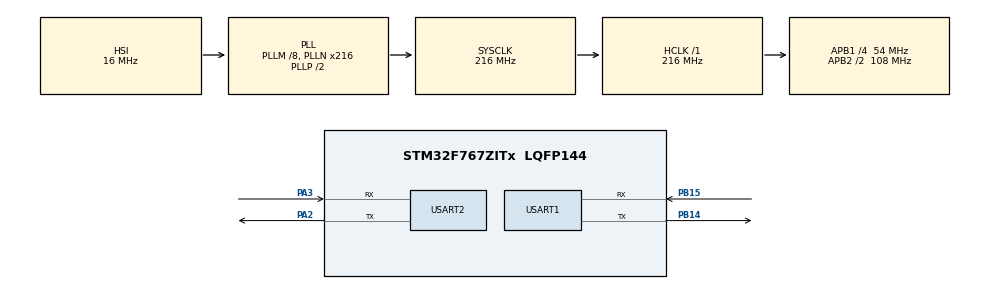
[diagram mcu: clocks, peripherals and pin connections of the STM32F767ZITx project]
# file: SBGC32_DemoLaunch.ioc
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Mcu.Family=STM32F7
Mcu.Name=STM32F767ZITx
Mcu.Package=LQFP144
NVIC.PriorityGroup=NVIC_PRIORITYGROUP_4
NVIC.TIM2_IRQn=true\:5\:0\:true\:false\:true\:true\:true\:true
NVIC.USART1_IRQn=true\:1\:0\:true\:false\:true\:true\:true\:true
PA2.Mode=Asynchronous
PA2.Signal=USART2_TX
PA3.Mode=Asynchronous
PA3.Signal=USART2_RX
PB14.Mode=Asynchronous
PB14.Signal=USART1_TX
PB15.GPIO_PuPd=GPIO_PULLUP
PB15.Mode=Asynchronous
PB15.Signal=USART1_RX
ProjectManager.HeapSize=0x200
ProjectManager.StackSize=0x400
ProjectManager.TargetToolchain=STM32CubeIDE
RCC.AHBFreq_Value=216000000
RCC.APB1CLKDivider=RCC_HCLK_DIV4
RCC.APB1Freq_Value=54000000
RCC.APB1TimFreq_Value=108000000
RCC.APB2CLKDivider=RCC_HCLK_DIV2
RCC.APB2Freq_Value=108000000
RCC.APB2TimFreq_Value=216000000
RCC.CortexFreq_Value=216000000
RCC.HCLKFreq_Value=216000000
RCC.HSE_VALUE=25000000
RCC.HSI_VALUE=16000000
RCC.LSE_VALUE=32768
RCC.PLLM=8
RCC.PLLN=216
RCC.SYSCLKFreq_VALUE=216000000
RCC.SYSCLKSource=RCC_SYSCLKSOURCE_PLLCLK
RCC.USBFreq_Value=216000000
RCC.VCOOutputFreq_Value=432000000
TIM2.Period=999
TIM2.Prescaler=107
TIM2.TIM_MasterOutputTrigger=TIM_TRGO_UPDATE
USART1.OverSampling=UART_OVERSAMPLING_16
USART1.VirtualMode-Asynchronous=VM_ASYNC
USART2.OverSampling=UART_OVERSAMPLING_16
USART2.VirtualMode-Asynchronous=VM_ASYNC
VP_TIM2_VS_ClockSourceINT.Mode=Internal
board=custom

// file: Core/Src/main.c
/* USER CODE BEGIN Header */
/**
  ******************************************************************************
  * @file           : main.c
  * @brief          : Main program body
  ******************************************************************************
  * @attention
  *
  * Copyright (c) 2022 STMicroelectronics.
  * All rights reserved.
  *
  * This software is licensed under terms that can be found in the LICENSE file
  * in the root directory of this software component.
  * If no LICENSE file comes with this software, it is provided AS-IS.
  *
  ******************************************************************************
  */
/*	____________________________________________________________________
 *
 *	This is an example sketch for STM32, that shows how to control
 *	SimpleBGC-driven gimbal via Serial API. API specs are available at
 *	http://www.basecamelectronics.com/serialapi/
 *	____________________________________________________________________
 */

/* USER CODE END Header */
#include "main.h"
#include "tim.h"
#include "usart.h"
#include "gpio.h"

/* USER CODE BEGIN Includes */

#include "sbgc32.h"

/* USER CODE END Includes */

/* USER CODE BEGIN PD */

#define		SBGC_CONTROL_AXES_LPF			2

#define		SBGC_ADJ_VAR_INCREASING_STEP	200

#define		SBGC_DATA_STREAM_BUFF_DEPTH		1
#define		SBGC_DEMO_CONTROL_ITERATIONS	4
#define		SBGC_DATA_STREAM_INTERVAL		1000

/* USER CODE END PD */

void SystemClock_Config(void);

/* USER CODE BEGIN 0 */

/* ‾‾‾‾‾‾‾‾‾‾‾‾‾‾‾‾‾‾‾‾‾‾‾‾‾‾‾‾‾‾‾‾‾‾‾‾‾‾‾‾‾‾‾‾‾‾‾‾‾‾‾‾‾‾‾‾‾‾‾‾‾‾‾‾‾‾ */
/*                       Global Software Objects                      */
/* __________________________________________________________________ */

			sbgcGeneral_t 			SBGC32_Device;

static		sbgcAdjVarGeneral_t		AdjVarGeneral [3];

static		sbgcControl_t			Control;
static		sbgcControlConfig_t		ControlConfig;

static		sbgcMainParams3_t		MainParams3;
static		sbgcMainParamsExt_t		MainParamsExt;
static		sbgcMainParamsExt2_t	MainParamsExt2;
static		sbgcMainParamsExt3_t	MainParamsExt3;

static		sbgcRealTimeData_t		RealTimeData;
static		sbgcDataStreamInterval_t
									DataStreamInterval;

static		sbgcBoardInfo_t			BoardInfo;
static		sbgcBoardInfo3_t		BoardInfo3;
static		sbgcBeeperSettings_t	BeeperSettings;

static		sbgcConfirm_t			Confirm;

struct PACKED__ RealTimeDataCustomStruct
{
	// Mandatory field, don't remove!
	ui16 timestampMs;

	// Additional fields, depended on 'flags'
	i16 frameCamAngle [3];
	i16 gyroData [3];
	i16 accData [3];

}	static RealTimeDataCustom;

/* Function prototypes */
sbgcCommandStatus_t PrintBoardParameters (sbgcProfile_t profileID);
sbgcCommandStatus_t DemoControl (void);
void PrintDataStream (void);

/* USER CODE END 0 */

int main(void)
{

  /* MCU Configuration--------------------------------------------------------*/

  /* Reset of all peripherals, Initializes the Flash interface and the Systick. */
  HAL_Init();

  /* Configure the system clock */
  SystemClock_Config();

  /* Initialize all configured peripherals */
  MX_GPIO_Init();
  MX_TIM2_Init();
  MX_USART1_UART_Init();
  MX_USART2_UART_Init();
  /* USER CODE BEGIN 2 */

	/* SimpleBGC32 Init */
	SBGC32_Init(&SBGC32_Device);

	/* Control Configurations */
	ControlConfig.AxisCCtrl[PITCH].angleLPF = SBGC_CONTROL_AXES_LPF;
	ControlConfig.AxisCCtrl[YAW].angleLPF = SBGC_CONTROL_AXES_LPF;

	ControlConfig.AxisCCtrl[PITCH].speedLPF = SBGC_CONTROL_AXES_LPF;
	ControlConfig.AxisCCtrl[YAW].speedLPF = SBGC_CONTROL_AXES_LPF;

	ControlConfig.flags = CtrlCONFIG_FLAG_NO_CONFIRM;

	Control.mode[PITCH] = CtrlMODE_ANGLE | CtrlFLAG_TARGET_PRECISE;
	Control.mode[YAW] = CtrlMODE_ANGLE | CtrlFLAG_TARGET_PRECISE;

	Control.AxisC[PITCH].angle = 0;
	Control.AxisC[YAW].angle = 0;

	Control.AxisC[PITCH].speed = sbgcSpeedToValue(25);
	Control.AxisC[YAW].speed = sbgcSpeedToValue(50);

	/* Data Stream Configurations */
	DataStreamInterval.cmdID = DSC_CMD_REALTIME_DATA_CUSTOM;
	DataStreamInterval.intervalMs = SBGC_DATA_STREAM_INTERVAL;
	DataStreamInterval.syncToData = STD_SYNC_OFF;

	ParserSBGC32_RTDC_FlagsToStream(&DataStreamInterval, RTDCF_STATOR_ROTOR_ANGLE | RTDCF_GYRO_DATA | RTDCF_ACC_DATA);

	/* Adj Vars Setting. SBGC_ADJ_VARS_REF_INFO parameter must be sbgcON  */
	SerialAPI_InitAdjVar(&AdjVarGeneral[0], ADJ_VAR_ACC_LIMITER_ROLL);
	SerialAPI_InitAdjVar(&AdjVarGeneral[1], ADJ_VAR_ACC_LIMITER_PITCH);
	SerialAPI_InitAdjVar(&AdjVarGeneral[2], ADJ_VAR_ACC_LIMITER_YAW);

	/* Program launch */
	/* SBGC32_Reset(&SBGC32_Device, RESET_FLAG_NEED_CONFIRMATION, 0);
	SBGC32_ExpectCommand(&SBGC32_Device, CMD_RESET);
	sbgcDelay(5000); */

	PrintBoardParameters(sbgcCURRENT_PROFILE);

	SBGC32_ControlConfig(&SBGC32_Device, &ControlConfig, SBGC_NO_CONFIRM);

	DemoControl();

	SBGC32_StartDataStream(&SBGC32_Device, &DataStreamInterval, &Confirm);

	if (SerialAPI_GetConfirmStatus(&Confirm) != sbgcCONFIRM_RECEIVED)
	{
		DebugSBGC32_PrintMessage(&SBGC32_Device, "Confirmation Error! Program is stopped");

		/* There is no point in proceeding without starting the data stream */
		while (1);  // Stop the program here
	}

  /* USER CODE END 2 */

  /* Infinite loop */
  while (1)
  {

    /* USER CODE BEGIN 3 */

		/* Wait until get a full command */
		while (SerialAPI_GetBytesAvailable(&SBGC32_Device) < ((sizeof(RealTimeDataCustom) + SBGC_SERVICE_BYTES_NUM) * SBGC_DATA_STREAM_BUFF_DEPTH));

		SBGC32_ReadDataStream(&SBGC32_Device, DSC_CMD_REALTIME_DATA_CUSTOM, &RealTimeDataCustom, sizeof(RealTimeDataCustom));
		PrintDataStream();
  }
  /* USER CODE END 3 */
}

void SystemClock_Config(void)
{
  RCC_OscInitTypeDef RCC_OscInitStruct = {0};
  RCC_ClkInitTypeDef RCC_ClkInitStruct = {0};

  /** Configure the main internal regulator output voltage
  */
  __HAL_RCC_PWR_CLK_ENABLE();
  __HAL_PWR_VOLTAGESCALING_CONFIG(PWR_REGULATOR_VOLTAGE_SCALE1);

  /** Initializes the RCC Oscillators according to the specified parameters
  * in the RCC_OscInitTypeDef structure.
  */
  RCC_OscInitStruct.OscillatorType = RCC_OSCILLATORTYPE_HSI;
  RCC_OscInitStruct.HSIState = RCC_HSI_ON;
  RCC_OscInitStruct.HSICalibrationValue = RCC_HSICALIBRATION_DEFAULT;
  RCC_OscInitStruct.PLL.PLLState = RCC_PLL_ON;
  RCC_OscInitStruct.PLL.PLLSource = RCC_PLLSOURCE_HSI;
  RCC_OscInitStruct.PLL.PLLM = 8;
  RCC_OscInitStruct.PLL.PLLN = 216;
  RCC_OscInitStruct.PLL.PLLP = RCC_PLLP_DIV2;
  RCC_OscInitStruct.PLL.PLLQ = 2;
  RCC_OscInitStruct.PLL.PLLR = 2;
  if (HAL_RCC_OscConfig(&RCC_OscInitStruct) != HAL_OK)
  {
    Error_Handler();
  }

  /** Activate the Over-Drive mode
  */
  if (HAL_PWREx_EnableOverDrive() != HAL_OK)
  {
    Error_Handler();
  }

  /** Initializes the CPU, AHB and APB buses clocks
  */
  RCC_ClkInitStruct.ClockType = RCC_CLOCKTYPE_HCLK|RCC_CLOCKTYPE_SYSCLK
                              |RCC_CLOCKTYPE_PCLK1|RCC_CLOCKTYPE_PCLK2;
  RCC_ClkInitStruct.SYSCLKSource = RCC_SYSCLKSOURCE_PLLCLK;
  RCC_ClkInitStruct.AHBCLKDivider = RCC_SYSCLK_DIV1;
  RCC_ClkInitStruct.APB1CLKDivider = RCC_HCLK_DIV4;
  RCC_ClkInitStruct.APB2CLKDivider = RCC_HCLK_DIV2;

  if (HAL_RCC_ClockConfig(&RCC_ClkInitStruct, FLASH_LATENCY_7) != HAL_OK)
  {
    Error_Handler();
  }
}

/* USER CODE BEGIN 4 */

sbgcCommandStatus_t PrintBoardParameters (sbgcProfile_t profileID)
{
	char boardVersionStr [5];
	char firmwareVersionStr [8];

	SBGC32_ReadBoardInfo(&SBGC32_Device, &BoardInfo, 0);
	SBGC32_ReadBoardInfo3(&SBGC32_Device, &BoardInfo3);

	SBGC32_ReadParams3(&SBGC32_Device, &MainParams3, profileID);
	SBGC32_ReadParamsExt(&SBGC32_Device, &MainParamsExt, profileID);
	SBGC32_ReadParamsExt2(&SBGC32_Device, &MainParamsExt2, profileID);
	SBGC32_ReadParamsExt3(&SBGC32_Device, &MainParamsExt3, profileID);

	SBGC32_ReadRealTimeData4(&SBGC32_Device, &RealTimeData);

	ParserSBGC32_FormatBoardVersion(&SBGC32_Device, BoardInfo.boardVer, BUFF_SIZE_(boardVersionStr));
	ParserSBGC32_FormatFirmwareVersion(&SBGC32_Device, BoardInfo.firmwareVer, BUFF_SIZE_(firmwareVersionStr));

	DebugSBGC32_PrintMessage(&SBGC32_Device, "Board Version: ");
	DebugSBGC32_PrintMessage(&SBGC32_Device, boardVersionStr);
	DebugSBGC32_PrintMessage(&SBGC32_Device, " \n");
	DebugSBGC32_PrintMessage(&SBGC32_Device, "Firmware Version: ");
	DebugSBGC32_PrintMessage(&SBGC32_Device, firmwareVersionStr);
	DebugSBGC32_PrintMessage(&SBGC32_Device, " \n");

	DebugSBGC32_PrintStructElement(&SBGC32_Device, &BoardInfo3.flashSize, "Flash Size =", sbgcUCHAR);

	DebugSBGC32_PrintStructElement(&SBGC32_Device, &MainParams3.profileID, "Current profile #", sbgcUCHAR);  // Note: 0 --> 4
	DebugSBGC32_PrintStructElement(&SBGC32_Device, &MainParams3.AxisCMP3[ROLL].p, "Roll P =", sbgcUCHAR);
	DebugSBGC32_PrintStructElement(&SBGC32_Device, &MainParams3.AxisCMP3[ROLL].i, "Roll I =", sbgcUCHAR);
	DebugSBGC32_PrintStructElement(&SBGC32_Device, &MainParams3.AxisCMP3[ROLL].d, "Roll D =", sbgcUCHAR);
	DebugSBGC32_PrintStructElement(&SBGC32_Device, &MainParams3.AxisCMP3[PITCH].p, "Pitch P =", sbgcUCHAR);
	DebugSBGC32_PrintStructElement(&SBGC32_Device, &MainParams3.AxisCMP3[PITCH].i, "Pitch I =", sbgcUCHAR);
	DebugSBGC32_PrintStructElement(&SBGC32_Device, &MainParams3.AxisCMP3[PITCH].d, "Pitch D =", sbgcUCHAR);
	DebugSBGC32_PrintStructElement(&SBGC32_Device, &MainParams3.AxisCMP3[YAW].p, "Yaw P =", sbgcUCHAR);
	DebugSBGC32_PrintStructElement(&SBGC32_Device, &MainParams3.AxisCMP3[YAW].i, "Yaw I =", sbgcUCHAR);
	DebugSBGC32_PrintStructElement(&SBGC32_Device, &MainParams3.AxisCMP3[YAW].d, "Yaw D =", sbgcUCHAR);
	DebugSBGC32_PrintStructElement(&SBGC32_Device, &MainParams3.accLimiterAll, "Acc Limiter All = ", sbgcUCHAR);
	DebugSBGC32_PrintStructElement(&SBGC32_Device, &MainParams3.AxisRC_MP3[ROLL].RC_MaxAngle, "RC Max Angle =", sbgcSHORT);
	DebugSBGC32_PrintStructElement(&SBGC32_Device, &MainParams3.AxisRC_MP3[YAW].RC_MinAngle, "RC Min Angle =", sbgcSHORT);
	DebugSBGC32_PrintStructElement(&SBGC32_Device, &MainParams3.RC_MapRoll, "RC Map Roll =", sbgcUCHAR);
	DebugSBGC32_PrintStructElement(&SBGC32_Device, &MainParams3.RC_MapPitch, "RC Map Pitch =", sbgcUCHAR);
	DebugSBGC32_PrintStructElement(&SBGC32_Device, &MainParams3.RC_MapYaw, "RC Map Yaw =", sbgcUCHAR);
	DebugSBGC32_PrintStructElement(&SBGC32_Device, &MainParams3.RC_MapCmd, "RC Map Cmd =", sbgcUCHAR);
	DebugSBGC32_PrintStructElement(&SBGC32_Device, &MainParams3.RC_MapFC_Roll, "RC Map FC Roll =", sbgcUCHAR);
	DebugSBGC32_PrintStructElement(&SBGC32_Device, &MainParams3.RC_MapFC_Pitch, "RC Map FC Pitch =", sbgcUCHAR);

	DebugSBGC32_PrintStructElement(&SBGC32_Device, &MainParamsExt.LPF_Freq[ROLL], "LPF Frequency Roll =", sbgcUSHORT);
	DebugSBGC32_PrintStructElement(&SBGC32_Device, &MainParamsExt.LPF_Freq[PITCH], "LPF Frequency Pitch =", sbgcUSHORT);
	DebugSBGC32_PrintStructElement(&SBGC32_Device, &MainParamsExt.LPF_Freq[YAW], "LPF Frequency Yaw =", sbgcUSHORT);

	DebugSBGC32_PrintStructElement(&SBGC32_Device, &MainParamsExt2.frameIMU_LPF_Freq, "Frame IMU LPF Freq =", sbgcUCHAR);
	DebugSBGC32_PrintStructElement(&SBGC32_Device, &MainParamsExt2.timelapseTime, "Timelapse Time =", sbgcUSHORT);

	DebugSBGC32_PrintStructElement(&SBGC32_Device, &MainParamsExt3.motorStartupDelay, "Motor Startup Delay =", sbgcUSHORT);

	DebugSBGC32_PrintMessage(&SBGC32_Device, " \n");

	DebugSBGC32_PrintStructElement(&SBGC32_Device, &RealTimeData.AxisRTD[ROLL].accData, "Acc Roll =", sbgcSHORT);
	DebugSBGC32_PrintStructElement(&SBGC32_Device, &RealTimeData.AxisRTD[PITCH].accData, "Acc Pitch =", sbgcSHORT);
	DebugSBGC32_PrintStructElement(&SBGC32_Device, &RealTimeData.AxisRTD[YAW].accData, "Acc Yaw =", sbgcSHORT);

	RealTimeData.frameCamAngle[ROLL] = sbgcDegreeToAngle(RealTimeData.frameCamAngle[ROLL]);
	RealTimeData.frameCamAngle[PITCH] = sbgcDegreeToAngle(RealTimeData.frameCamAngle[PITCH]);
	RealTimeData.frameCamAngle[YAW] = sbgcDegreeToAngle(RealTimeData.frameCamAngle[YAW]);

	DebugSBGC32_PrintStructElement(&SBGC32_Device, &RealTimeData.frameCamAngle[ROLL], "Current Angle Roll =", sbgcSHORT);
	DebugSBGC32_PrintStructElement(&SBGC32_Device, &RealTimeData.frameCamAngle[PITCH], "Current Angle Pitch =", sbgcSHORT);
	DebugSBGC32_PrintStructElement(&SBGC32_Device, &RealTimeData.frameCamAngle[YAW], "Current Angle Yaw =", sbgcSHORT);

	DebugSBGC32_PrintStructElement(&SBGC32_Device, &RealTimeData.IMU_Temperature, "IMU Temperature =", sbgcCHAR);

	DebugSBGC32_PrintMessage(&SBGC32_Device, "____________________________\n\n");

	return SerialAPI_GetStatus(&SBGC32_Device);
}

sbgcCommandStatus_t DemoControl (void)
{
	/* Getting adjvars values */
	SBGC32_GetAdjVarValues(&SBGC32_Device, AdjVarGeneral, countof_(AdjVarGeneral));

	for (ui8 i = 0; i < countof_(AdjVarGeneral); i++)
	/* Start with 0 values */
		SerialAPI_EditAdjVarValue(&AdjVarGeneral[i], 0);

	sbgcDelay(500);

	/* Run the Demonstration Cycle */
	for (ui8 i = 0; i < SBGC_DEMO_CONTROL_ITERATIONS; i++)
	{
		/* Printing. SBGC_ADJ_VARS_NAMES parameter must be sbgcON */
		for (ui8 k = 0; k < countof_(AdjVarGeneral); k++)
			DebugSBGC32_PrintStructElement(&SBGC32_Device, &AdjVarGeneral[k].value, AdjVarGeneral[k].name, sbgcSHORT);

		Control.AxisC[YAW].angle = sbgcAngleToDegree(50);
		Control.AxisC[PITCH].angle = sbgcAngleToDegree(-25);
		SBGC32_Control(&SBGC32_Device, &Control);
		sbgcDelay(5000);

		Control.AxisC[PITCH].angle = sbgcAngleToDegree(25);
		SBGC32_Control(&SBGC32_Device, &Control);
		sbgcDelay(5000);

		Control.AxisC[YAW].angle = sbgcAngleToDegree(-50);
		SBGC32_Control(&SBGC32_Device, &Control);
		sbgcDelay(5000);

		Control.AxisC[PITCH].angle = sbgcAngleToDegree(-25);
		SBGC32_Control(&SBGC32_Device, &Control);
		sbgcDelay(5000);

		Control.AxisC[YAW].angle = 0;
		Control.AxisC[PITCH].angle = 0;
		SBGC32_Control(&SBGC32_Device, &Control);
		sbgcDelay(5000);

		BeeperSettings.mode = BEEP_MODE_COMPLETE;
		SBGC32_PlayBeeper(&SBGC32_Device, &BeeperSettings);

		/* Adjustable variables re-setting */
		for (ui8 k = 0; k < countof_(AdjVarGeneral); k++)
			SerialAPI_EditAdjVarValue(&AdjVarGeneral[k], AdjVarGeneral[k].value + SBGC_ADJ_VAR_INCREASING_STEP);

		SBGC32_SetAdjVarValues(&SBGC32_Device, AdjVarGeneral, countof_(AdjVarGeneral), &Confirm);

		DebugSBGC32_PrintMessage(&SBGC32_Device, "____________________________\n\n");

		sbgcDelay(500);
	}

	for (ui8 i = 0; i < countof_(AdjVarGeneral); i++)
		DebugSBGC32_PrintStructElement(&SBGC32_Device, &AdjVarGeneral[i].value, AdjVarGeneral[i].name, sbgcSHORT);

	DebugSBGC32_PrintMessage(&SBGC32_Device, "____________________________\n\n");

	Control.mode[PITCH] = CtrlMODE_NO_CONTROL;
	Control.mode[YAW] = CtrlMODE_NO_CONTROL;
	SBGC32_Control(&SBGC32_Device, &Control);

	/* Saving all changed adjustable variables to EEPROM */
	/* SBGC32_SaveAllActiveAdjVarsToEEPROM(&SBGC32_Device, &Confirm);

	if (SerialAPI_GetConfirmStatus(&Confirm) == sbgcCONFIRM_RECEIVED)
		for (ui8 i = 0; i < countof_(AdjVarGeneral); i++)
			AdjVarGeneral[i].saveFlag = AV_SAVED; */

	/* or SBGC32_SaveAdjVarsToEEPROM(&SBGC32_Device, AdjVarGeneral, countof_(AdjVarGeneral), SBGC_NO_CONFIRM); */

	return SerialAPI_GetStatus(&SBGC32_Device);
}

void PrintDataStream (void)
{
	i16 frameCamAngleTemp;

	frameCamAngleTemp = sbgcDegreeToAngle(RealTimeDataCustom.frameCamAngle[ROLL]);
	DebugSBGC32_PrintStructElement(&SBGC32_Device, &frameCamAngleTemp, "Current Angle Roll =", sbgcSHORT);

	frameCamAngleTemp = sbgcDegreeToAngle(RealTimeDataCustom.frameCamAngle[PITCH]);
	DebugSBGC32_PrintStructElement(&SBGC32_Device, &frameCamAngleTemp, "Current Angle Pitch =", sbgcSHORT);

	frameCamAngleTemp = sbgcDegreeToAngle(RealTimeDataCustom.frameCamAngle[YAW]);
	DebugSBGC32_PrintStructElement(&SBGC32_Device, &frameCamAngleTemp, "Current Angle Yaw =", sbgcSHORT);

	DebugSBGC32_PrintStructElement(&SBGC32_Device, &RealTimeDataCustom.gyroData[ROLL], "Gyro Roll =", sbgcSHORT);
	DebugSBGC32_PrintStructElement(&SBGC32_Device, &RealTimeDataCustom.gyroData[PITCH], "Gyro Pitch =", sbgcSHORT);
	DebugSBGC32_PrintStructElement(&SBGC32_Device, &RealTimeDataCustom.gyroData[YAW], "Gyro Yaw =", sbgcSHORT);

	DebugSBGC32_PrintStructElement(&SBGC32_Device, &RealTimeDataCustom.accData[ROLL], "Acc Roll =", sbgcSHORT);
	DebugSBGC32_PrintStructElement(&SBGC32_Device, &RealTimeDataCustom.accData[PITCH], "Acc Pitch =", sbgcSHORT);
	DebugSBGC32_PrintStructElement(&SBGC32_Device, &RealTimeDataCustom.accData[YAW], "Acc Yaw =", sbgcSHORT);

	DebugSBGC32_PrintMessage(&SBGC32_Device, "____________________________\n\n");
}

void SerialAPI_FatalErrorHandler (void)
{
	/* User common error handler */
	__disable_irq();

	while (1);
}

/* USER CODE END 4 */

void Error_Handler(void)
{
  __disable_irq();
  while (1)
  {
  }
}
